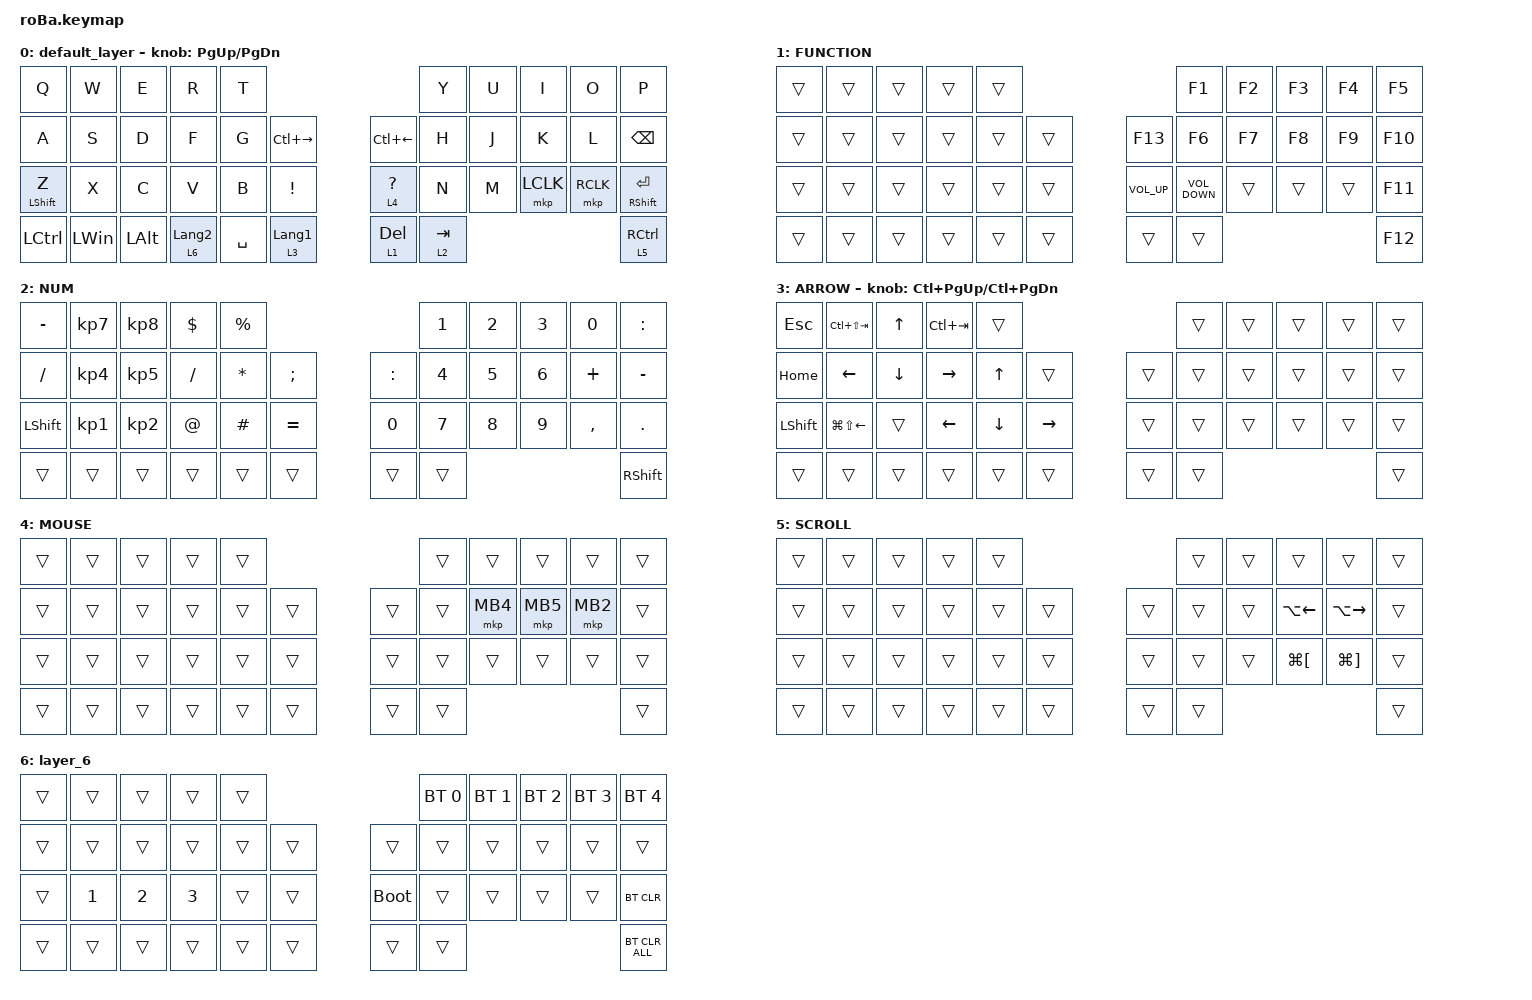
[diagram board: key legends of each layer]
#include <behaviors.dtsi>
#include <dt-bindings/zmk/bt.h>
#include <dt-bindings/zmk/keys.h>
#include <dt-bindings/zmk/pointing.h>

#define MOUSE 4
#define SCROLL 5
#define NUM 6

&mt {
    flavor = "balanced";
    quick-tap-ms = <0>;
};

/ {
    combos {
        compatible = "zmk,combos";

        tab {
            bindings = <&kp TAB>;
            key-positions = <11 12>;
        };

        shift_tab {
            bindings = <&kp LS(TAB)>;
            key-positions = <12 13>;
        };

        muhennkann {
            bindings = <&to_layer_0 INT_MUHENKAN>;
            key-positions = <11 10>;
        };

        double_quotation {
            bindings = <&kp DOUBLE_QUOTES>;
            key-positions = <20 21>;
        };

        eq {
            bindings = <&kp EQUAL>;
            key-positions = <24 25>;
        };
    };

    macros {
        to_layer_0: to_layer_0 {
            compatible = "zmk,behavior-macro-one-param";
            #binding-cells = <1>;
            bindings = <&to 0 &macro_param_1to1 &kp MACRO_PLACEHOLDER>;
            label = "TO_LAYER_0";
        };
    };

    behaviors {
        lt_to_layer_0: lt_to_layer_0 {
            compatible = "zmk,behavior-hold-tap";
            label = "LAYER_TAP_TO_0";
            bindings = <&mo>, <&to_layer_0>;

            #binding-cells = <2>;
            tapping-term-ms = <200>;
        };
    };

    keymap {
        compatible = "zmk,keymap";

        default_layer {
            bindings = <
&kp Q             &kp W         &kp E         &kp R                        &kp T                                                                  &kp Y      &kp U  &kp I      &kp O      &kp P
&kp A             &kp S         &kp D         &kp F                        &kp G      &kp LC(RIGHT)                    &kp LC(LEFT)               &kp H      &kp J  &kp K      &kp L      &kp BACKSPACE
&mt LEFT_SHIFT Z  &kp X         &kp C         &kp V                        &kp B      &kp EXCLAMATION                  &lt_to_layer_0 4 QUESTION  &kp N      &kp M  &mkp LCLK  &mkp RCLK  &mt RIGHT_SHIFT ENTER
&kp LCTRL         &kp LEFT_WIN  &kp LEFT_ALT  &lt_to_layer_0 6 LANGUAGE_2  &kp SPACE  &lt_to_layer_0 3 LANGUAGE_1      &lt 1 DEL                  &lt 2 TAB                               &lt_to_layer_0 5 RCTRL
            >;

            sensor-bindings = <&inc_dec_kp PG_UP PAGE_DOWN>;
        };

        FUNCTION {
            bindings = <
&trans  &trans  &trans  &trans  &trans                               &kp F1             &kp F2  &kp F3  &kp F4  &kp F5
&trans  &trans  &trans  &trans  &trans  &trans      &kp F13          &kp F6             &kp F7  &kp F8  &kp F9  &kp F10
&trans  &trans  &trans  &trans  &trans  &trans      &kp C_VOLUME_UP  &kp C_VOLUME_DOWN  &trans  &trans  &trans  &kp F11
&trans  &trans  &trans  &trans  &trans  &trans      &trans           &trans                                     &kp F12
            >;
        };

        NUM {
            bindings = <
&kp MINUS       &kp KP_NUMBER_7  &kp KP_NUMBER_8  &kp DOLLAR   &kp PERCENT                             &kp N1  &kp N2  &kp N3        &kp NUMBER_0  &kp COLON
&kp SLASH       &kp KP_NUMBER_4  &kp KP_NUMBER_5  &kp FSLH     &kp ASTERISK  &kp SEMI       &kp COLON  &kp N4  &kp N5  &kp NUMBER_6  &kp PLUS      &kp MINUS
&kp LEFT_SHIFT  &kp KP_NUMBER_1  &kp KP_NUMBER_2  &kp AT_SIGN  &kp HASH      &kp EQUAL      &kp N0     &kp N7  &kp N8  &kp N9        &kp COMMA     &kp PERIOD
&trans          &trans           &trans           &trans       &trans        &trans         &trans     &trans                                      &kp RIGHT_SHIFT
            >;
        };

        ARROW {
            bindings = <
&kp ESCAPE      &kp LC(LS(TAB))         &kp UP_ARROW    &kp LC(TAB)      &trans                               &trans  &trans  &trans  &trans  &trans
&kp HOME        &kp LEFT_ARROW          &kp DOWN_ARROW  &kp RIGHT_ARROW  &kp UP_ARROW  &trans         &trans  &trans  &trans  &trans  &trans  &trans
&kp LEFT_SHIFT  &kp LG(LS(LEFT_ARROW))  &trans          &kp LEFT         &kp DOWN      &kp RIGHT      &trans  &trans  &trans  &trans  &trans  &trans
&trans          &trans                  &trans          &trans           &trans        &trans         &trans  &trans                          &trans
            >;

            sensor-bindings = <&inc_dec_kp LC(PAGE_UP) LC(PAGE_DOWN)>;
        };

        MOUSE {
            bindings = <
&trans  &trans  &trans  &trans  &trans                      &trans  &trans    &trans    &trans    &trans
&trans  &trans  &trans  &trans  &trans  &trans      &trans  &trans  &mkp MB4  &mkp MB5  &mkp MB2  &trans
&trans  &trans  &trans  &trans  &trans  &trans      &trans  &trans  &trans    &trans    &trans    &trans
&trans  &trans  &trans  &trans  &trans  &trans      &trans  &trans                                &trans
            >;
        };

        SCROLL {
            bindings = <
&trans  &trans  &trans  &trans  &trans                      &trans  &trans  &trans                &trans                 &trans
&trans  &trans  &trans  &trans  &trans  &trans      &trans  &trans  &trans  &kp LA(LEFT_ARROW)    &kp LA(RIGHT_ARROW)    &trans
&trans  &trans  &trans  &trans  &trans  &trans      &trans  &trans  &trans  &kp LG(LEFT_BRACKET)  &kp LG(RIGHT_BRACKET)  &trans
&trans  &trans  &trans  &trans  &trans  &trans      &trans  &trans                                                       &trans
            >;
        };

        layer_6 {
            bindings = <
&trans  &trans        &trans        &trans        &trans                           &bt BT_SEL 0  &bt BT_SEL 1  &bt BT_SEL 2  &bt BT_SEL 3  &bt BT_SEL 4
&trans  &trans        &trans        &trans        &trans  &trans      &trans       &trans        &trans        &trans        &trans        &trans
&trans  &kp NUMBER_1  &kp NUMBER_2  &kp NUMBER_3  &trans  &trans      &bootloader  &trans        &trans        &trans        &trans        &bt BT_CLR
&trans  &trans        &trans        &trans        &trans  &trans      &trans       &trans                                                  &bt BT_CLR_ALL
            >;
        };
    };
};
